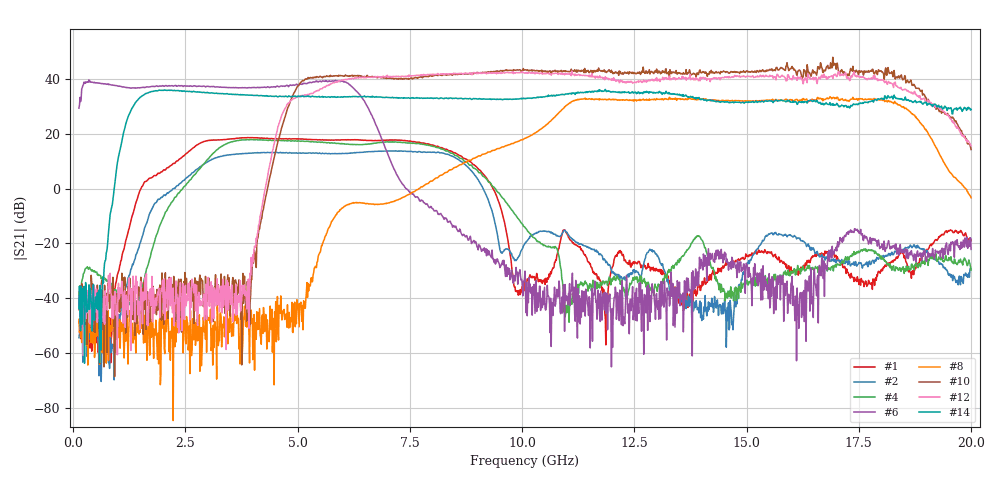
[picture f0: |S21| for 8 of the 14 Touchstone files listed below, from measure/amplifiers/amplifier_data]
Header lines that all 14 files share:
!Created with skrf (http://scikit-rf.org).
# GHz S RI R 50.0
!freq ReS11 ImS11 ReS21 ImS21 ReS12 ImS12 ReS22 ImS22
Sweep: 130 MHz to 20 GHz
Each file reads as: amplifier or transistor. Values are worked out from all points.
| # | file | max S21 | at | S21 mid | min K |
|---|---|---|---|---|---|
| 1 | amplifier_81413_sn114.s2p | 18.7 dB | 3.88 GHz | -35.6 dB at 10.06 GHz | 0.38 |
| 2 | amplifier_81413_sn304.s2p | 13.8 dB | 7.196 GHz | -19.9 dB at 10.06 GHz | 1.20 |
| 3 | amplifier_81413_sn1015.s2p | 17.4 dB | 7.383 GHz | -31.8 dB at 10.06 GHz | 1.14 |
| 4 | amplifier_81413_sn2385.s2p | 17.9 dB | 3.88 GHz | -14.1 dB at 10.06 GHz | -2.29 |
| 5 | amplifier_81413_sn6141.s2p | 18.5 dB | 7.184 GHz | -4.7 dB at 10.06 GHz | -1517.39 |
| 6 | amplifier_amf_3d_00300600_60_24p.s2p | 39.7 dB | 353.5 MHz | -30.2 dB at 10.06 GHz | -134.19 |
| 7 | amplifier_ifs4_00101275_45_10p_4.s2p | 41.4 dB | 167.3 MHz | 33.1 dB at 10.06 GHz | -6.72 |
| 8 | amplifier_km574302.s2p | 33.6 dB | 16.86 GHz | 18.4 dB at 10.06 GHz | -3.56 |
| 9 | amplifier_sa9_1218_sn0013.s2p | 42.8 dB | 5.098 GHz | 38.7 dB at 10.06 GHz | -32.89 |
| 10 | amplifier_sa9_1218_sn1003.s2p | 48.0 dB | 16.92 GHz | 43.4 dB at 10.06 GHz | -9186.10 |
| 11 | amplifier_sa9_1218_sn1007.s2p | 44.6 dB | 15.91 GHz | 40.9 dB at 10.06 GHz | -16.17 |
| 12 | amplifier_sa9_1218_sn1016.s2p | 43.0 dB | 11.11 GHz | 42.3 dB at 10.06 GHz | -20.87 |
| 13 | amplifier_sa9_1218_sn1295.s2p | 42.2 dB | 16.24 GHz | 39.8 dB at 10.06 GHz | -52.05 |
| 14 | amplifier_swl_88_6176.s2p | 36.3 dB | 11.85 GHz | 33.0 dB at 10.06 GHz | -716.94 |
